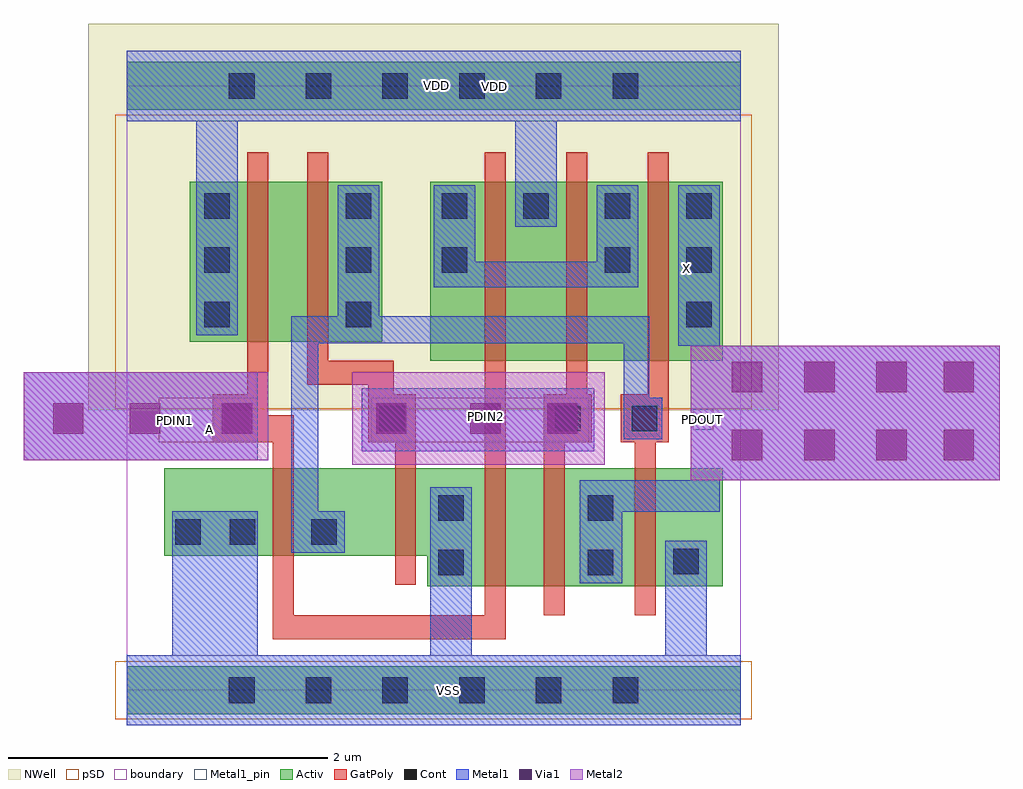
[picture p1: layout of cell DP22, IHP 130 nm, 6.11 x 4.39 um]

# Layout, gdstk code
import gdstk
lib = gdstk.Library(unit=1e-6, precision=5e-09)
def R(c, l, rs):  # rectangles x0, y0, x1, y1
    for r in rs: c.add(gdstk.rectangle(r[:2], r[2:], *l))
def A(c, l, x, y, w, h, nx, ny, dx, dy):  # array of equal rectangles
    R(c, l, [(x+i*dx, y+j*dy, x+i*dx+w, y+j*dy+h) for i in range(nx) for j in range(ny)])
def P(c, l, *ps):  # polygons
    for p in ps: c.add(gdstk.Polygon(p, *l))
Activ = (1, 0)
GatPoly = (5, 0)
Cont = (6, 0)
Metal1 = (8, 0)
Metal1_pin = (8, 2)
Metal2 = (10, 0)
pSD = (14, 0)
Via1 = (19, 0)
NWell = (31, 0)
boundary = (189, 4)

dp22 = lib.new_cell('DP22')
R(dp22, Activ, [(0.645,0.07,4.485,0.37), (2.545,2.28,4.375,3.4), (1.04,2.4,2.245,3.4), (0.645,3.85,4.485,4.15)])
P(dp22, Activ, [(2.525,0.87),(2.525,1.06),(0.88,1.06),(0.88,1.61),(4.375,1.61),(4.375,0.87)])
P(dp22, GatPoly, [(2.325,0.88),(2.325,1.77),(2.155,1.77),(2.155,2.13),(1.775,2.13),(1.775,3.585),(1.905,3.585),(1.905,2.28),(2.315,2.28),(2.315,2.07),(2.455,2.07),(2.455,0.88)],
  [(3.255,0.69),(3.255,2.07),(3.395,2.07),(3.395,3.585),(3.525,3.585),(3.525,2.07),(3.555,2.07),(3.555,1.77),(3.385,1.77),(3.385,0.69)],
  [(3.825,0.69),(3.825,1.77),(3.735,1.77),(3.735,2.07),(3.905,2.07),(3.905,3.585),(4.035,3.585),(4.035,1.77),(3.955,1.77),(3.955,0.69)],
  [(1.56,0.54),(1.56,1.77),(1.185,1.77),(1.185,2.07),(1.4,2.07),(1.4,3.585),(1.53,3.585),(1.53,1.94),(1.69,1.94),(1.69,0.69),(2.885,0.69),(2.885,3.585),(3.015,3.585),(3.015,0.54)])
A(dp22, Cont, 1.765, 0.14, 0.16, 0.16, 4, 1, 0.48, 0)
A(dp22, Cont, 1.13, 2.49, 0.16, 0.16, 1, 3, 0, 0.34)
A(dp22, Cont, 2.015, 2.49, 0.16, 0.16, 1, 3, 0, 0.34)
A(dp22, Cont, 2.615, 3.17, 0.16, 0.16, 4, 1, 0.51, 0)
R(dp22, Cont, [(1.285,0.14,1.445,0.3), (1.285,0.14,1.445,0.3), (1.765,0.14,1.925,0.3), (3.205,0.14,3.365,0.3), (3.685,0.14,3.845,0.3), (3.685,0.14,3.845,0.3), (2.595,0.94,2.755,1.1), (3.53,0.94,3.69,1.1), (4.065,0.945,4.225,1.105), (0.95,1.13,1.11,1.29), (1.29,1.13,1.45,1.29), (1.8,1.13,1.96,1.29), (2.595,1.28,2.755,1.44), (3.53,1.28,3.69,1.44), (2.225,1.84,2.385,2), (3.325,1.84,3.485,2), (3.805,1.84,3.965,2), (4.145,2.49,4.305,2.65), (2.615,2.83,2.775,2.99), (3.635,2.83,3.795,2.99), (4.145,2.83,4.305,2.99), (1.285,3.92,1.445,4.08), (1.285,3.92,1.445,4.08), (1.765,3.92,1.925,4.08), (1.765,3.92,1.925,4.08), (2.245,3.92,2.405,4.08), (2.245,3.92,2.405,4.08), (2.725,3.92,2.885,4.08), (2.725,3.92,2.885,4.08), (3.205,3.92,3.365,4.08), (3.205,3.92,3.365,4.08), (3.685,3.92,3.845,4.08)])
R(dp22, Metal1, [(4.175,1.535,6.105,2.375), (0,1.66,1.465,2.21), (2.115,1.715,3.57,2.11), (0.845,1.77,1.465,2.05), (2.175,1.77,3.535,2.05)])
P(dp22, Metal1, [(2.565,2.74),(2.565,3.38),(2.825,3.38),(2.825,2.9),(3.585,2.9),(3.585,3.38),(3.845,3.38),(3.845,2.74)],
  [(1.08,2.44),(1.08,3.78),(0.645,3.78),(0.645,4.22),(4.485,4.22),(4.485,3.78),(3.335,3.78),(3.335,3.12),(3.075,3.12),(3.075,3.78),(1.34,3.78),(1.34,2.44)],
  [(0.645,0),(0.645,0.44),(0.93,0.44),(0.93,1.34),(1.465,1.34),(1.465,0.44),(2.545,0.44),(2.545,1.49),(2.805,1.49),(2.805,0.44),(4.015,0.44),(4.015,1.155),(4.275,1.155),(4.275,0.44),(4.485,0.44),(4.485,0)],
  [(3.48,0.89),(3.48,1.535),(4.175,1.535),(4.175,2.375),(4.095,2.375),(4.095,3.38),(4.355,3.38),(4.355,1.335),(3.745,1.335),(3.745,0.89)],
  [(1.675,1.08),(1.675,2.56),(1.965,2.56),(1.965,3.38),(2.225,3.38),(2.225,2.56),(3.915,2.56),(3.915,2.05),(3.995,2.05),(3.995,1.79),(3.755,1.79),(3.755,2.39),(1.845,2.39),(1.845,1.34),(2.01,1.34),(2.01,1.08)])
R(dp22, Metal1_pin, [(0.645,0,4.485,0.44), (2.595,0.155,2.725,0.285), (0.845,1.77,1.465,2.05), (2.175,1.77,3.535,2.05), (0.855,1.815,1.045,2.005), (4.185,1.85,4.315,1.98), (2.83,1.865,2.96,1.995), (4.095,2.375,4.355,3.38), (0.645,3.78,4.485,4.22), (2.52,3.94,2.65,4.07)])
R(dp22, Metal2, [(4.175,1.535,6.105,2.375), (2.055,1.63,3.635,2.21), (0,1.66,1.53,2.21), (0.845,1.77,1.465,2.05), (2.175,1.77,3.535,2.05), (2.695,1.77,3.095,1.865)])
R(dp22, pSD, [(0.575,0.04,4.555,0.4), (0.575,1.98,4.555,3.82)])
R(dp22, Via1, [(4.43,1.66,4.62,1.85), (4.885,1.66,5.075,1.85), (5.335,1.66,5.525,1.85), (5.755,1.66,5.945,1.85), (0.185,1.825,0.375,2.015), (0.665,1.825,0.855,2.015), (1.24,1.825,1.43,2.015), (2.205,1.825,2.395,2.015), (2.795,1.825,2.985,2.015), (3.275,1.825,3.465,2.015), (4.43,2.085,4.62,2.275), (4.885,2.085,5.075,2.275), (5.335,2.085,5.525,2.275), (5.755,2.085,5.945,2.275)])
R(dp22, NWell, [(0.405,1.97,4.725,4.39)])
R(dp22, boundary, [(0.645,0.22,4.485,4)])
dp22.add(gdstk.Label('PDIN1', (0.95,1.91), layer=8, texttype=25))
dp22.add(gdstk.Label('PDIN2', (2.895,1.93), layer=8, texttype=25))
dp22.add(gdstk.Label('PDOUT', (4.25,1.915), layer=8, texttype=25))
dp22.add(gdstk.Label('VDD', (2.585,4.005), layer=8, texttype=25))
dp22.add(gdstk.Label('VSS', (2.66,0.22), layer=8, texttype=25))
dp22.add(gdstk.Label('X', (4.15,2.855), layer=8, texttype=25))
dp22.add(gdstk.Label('VDD', (2.945,3.995), layer=8, texttype=25))
dp22.add(gdstk.Label('B', (2.9,1.945), layer=8, texttype=25))
dp22.add(gdstk.Label('A', (1.165,1.85), layer=8, texttype=25))
dp22.add(gdstk.Label('VSS', (2.735,0.24), layer=8, texttype=25))

lib.write_gds('DP22.gds')
